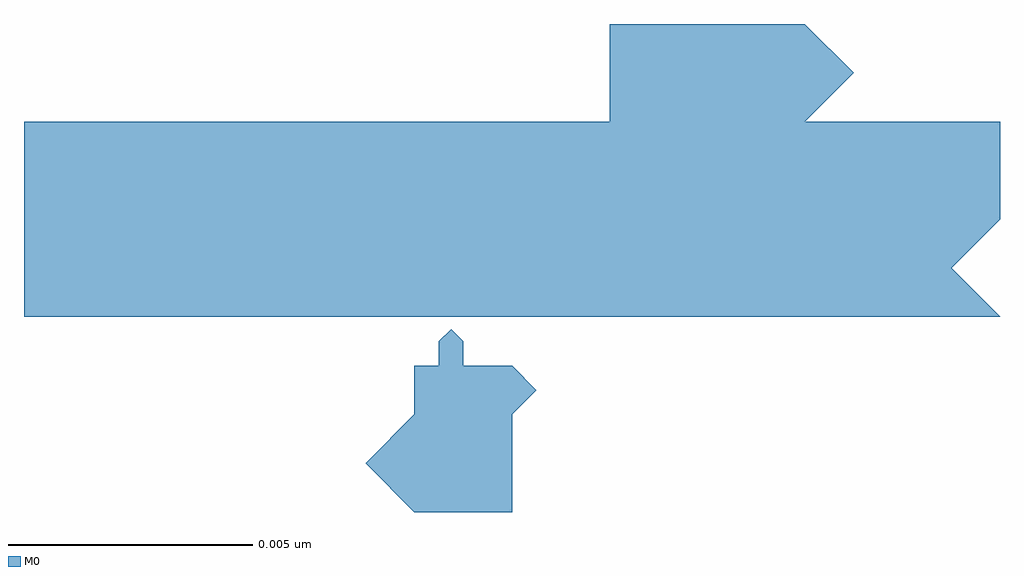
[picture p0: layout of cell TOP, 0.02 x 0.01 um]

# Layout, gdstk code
from math import pi, radians
import gdstk
lib = gdstk.Library(unit=1e-6, precision=1e-09)
def R(c, l, rs):  # rectangles x0, y0, x1, y1
    for r in rs: c.add(gdstk.rectangle(r[:2], r[2:], *l))
def P(c, l, *ps):  # polygons
    for p in ps: c.add(gdstk.Polygon(p, *l))
M0 = (1, 0)

rockbottom = lib.new_cell('ROCKBOTTOM')
P(rockbottom, M0, [(0.001,-0.001),(0,0),(0.002,0)])

bottom2 = lib.new_cell('BOTTOM2')
R(bottom2, M0, [(0,0,0.001,0.001)])
bottom2.add(gdstk.Reference(rockbottom, (0.001,0), rotation=pi/2, magnification=0.5))

bottom = lib.new_cell('BOTTOM')
P(bottom, M0, [(0,0),(0,0.001),(0.001,0)])

middle = lib.new_cell('MIDDLE')
middle.add(gdstk.Reference(bottom2, (-0.001,-0.003), rotation=pi))
middle.add(gdstk.Reference(bottom2, (-0.001,-0.001), rotation=pi, magnification=2))
middle.add(gdstk.Reference(bottom2, (0.002,-0.001), rotation=pi, magnification=2))
middle.add(gdstk.Reference(bottom2, (0.005,-0.001), rotation=pi, magnification=2))
middle.add(gdstk.Reference(bottom, (-0.001,-0.001), rotation=pi, magnification=2))
middle.add(gdstk.Reference(bottom, (0.001,-0.001), rotation=pi, magnification=2))

middle2 = lib.new_cell('MIDDLE2')
middle2.add(gdstk.Reference(bottom, (-0.005,-0.003)))
middle2.add(gdstk.Reference(bottom, (-0.003,-0.003)))
middle2.add(gdstk.Reference(bottom, (-0.003,-0.001), rotation=pi, magnification=2))
middle2.add(gdstk.Reference(bottom, (-0.001,-0.001), rotation=pi, magnification=2))
middle2.add(gdstk.Reference(bottom, (0.001,-0.001), rotation=pi, magnification=2))

top = lib.new_cell('TOP')
top.add(gdstk.Reference(bottom2, (-0.002,0), rotation=pi/2, magnification=0.5))
top.add(gdstk.Reference(bottom2, (-0.003,-0.001)))
top.add(gdstk.Reference(bottom2, (-0.002,-0.001)))
top.add(gdstk.Reference(middle, (-0.001,-0.001), rotation=pi, magnification=2))
top.add(gdstk.Reference(middle, (-0.001,-0.001), rotation=pi, magnification=2))
top.add(gdstk.Reference(middle, (0.001,-0.001), rotation=pi, magnification=2))
top.add(gdstk.Reference(middle2, (-0.001,-0.001), rotation=pi, magnification=2))
top.add(gdstk.Reference(bottom2, (-0.001,-0.001), rotation=pi, magnification=2))

lib.write_gds('TOP.gds')
